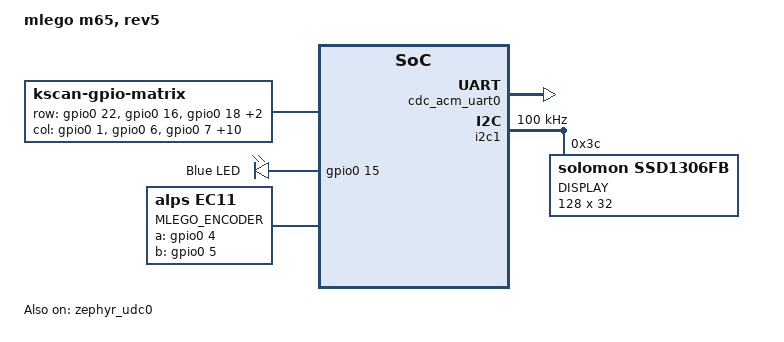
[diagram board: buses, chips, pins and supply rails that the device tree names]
/*
 * Copyright (c) 2022 The ZMK Contributors
 *
 * SPDX-License-Identifier: MIT
 */
#include <dt-bindings/zmk/matrix_transform.h>
#include <dt-bindings/led/led.h>

/ {

    model = "mlego m65, rev5";
    compatible = "mlego,rev5", "st,rpi_pico";

    chosen {
        zmk,kscan = &kscan0;
        zephyr,console = &cdc_acm_uart0;
        zephyr,display = &oled;
    };

    kscan0: kscan {
        compatible = "zmk,kscan-gpio-matrix";
        label = "KSCAN";
        diode-direction = "col2row";
	
        row-gpios
            = <&gpio0 22 (GPIO_ACTIVE_HIGH | GPIO_PULL_DOWN)>
            , <&gpio0 16 (GPIO_ACTIVE_HIGH | GPIO_PULL_DOWN)>
            , <&gpio0 18 (GPIO_ACTIVE_HIGH | GPIO_PULL_DOWN)>
            , <&gpio0 19 (GPIO_ACTIVE_HIGH | GPIO_PULL_DOWN)>
            , <&gpio0 20 (GPIO_ACTIVE_HIGH | GPIO_PULL_DOWN)>
            ;

        col-gpios
            = <&gpio0  1 GPIO_ACTIVE_HIGH>
            , <&gpio0  6 GPIO_ACTIVE_HIGH>
            , <&gpio0  7 GPIO_ACTIVE_HIGH>
            , <&gpio0  8 GPIO_ACTIVE_HIGH>
            , <&gpio0  9 GPIO_ACTIVE_HIGH>
            , <&gpio0 15 GPIO_ACTIVE_HIGH>
            , <&gpio0 14 GPIO_ACTIVE_HIGH>
            , <&gpio0 13 GPIO_ACTIVE_HIGH>
            , <&gpio0 12 GPIO_ACTIVE_HIGH>
            , <&gpio0 11 GPIO_ACTIVE_HIGH>
            , <&gpio0 10 GPIO_ACTIVE_HIGH>
            , <&gpio0 17 GPIO_ACTIVE_HIGH>
            , <&gpio0 21 GPIO_ACTIVE_HIGH>
            ;
    };
	
leds {
		compatible = "gpio-leds";
		blue_led: led_0 {
			gpios = <&gpio0 15 GPIO_ACTIVE_HIGH>;
			label = "Blue LED";
		};
	};

    mlego_encoder: mlego_encoder {
        compatible = "alps,ec11";
        label = "MLEGO_ENCODER";
        a-gpios = <&gpio0 4 (GPIO_ACTIVE_HIGH | GPIO_PULL_UP)>;
        b-gpios = <&gpio0 5 (GPIO_ACTIVE_HIGH | GPIO_PULL_UP)>;
        resolution = <4>;
    };

    sensors {
      compatible = "zmk,keymap-sensors";
      sensors = <&mlego_encoder>;
    };
};

&mlego_encoder {
    status = "okay";
};
&zephyr_udc0 {
  status="ok";
  cdc_acm_uart0: cdc_acm_uart0 {
    compatible = "zephyr,cdc-acm-uart";
    label = "CDC_ACM_0";

  };
};

&i2c1_default{
  group1 {
    pinmux = <I2C1_SDA_P2>, <I2C1_SCL_P3>;
    input-enable;
    input-schmitt-enable;
  };
};


&i2c1 {
      status = "okay";
       clock-frequency = <I2C_BITRATE_STANDARD>;

      oled: ssd1306@3c {
        compatible = "solomon,ssd1306fb";
        reg = < 0x3c >;
        label="DISPLAY";
        width = < 0x80 >;
        height = < 0x20 >;
        segment-offset = < 0x0 >;
        page-offset = < 0x0 >;
        display-offset = < 0x0 >;
        multiplex-ratio = < 0x1f >;
        com-sequential;
        prechargep = < 0x22 >;
      };
    };
